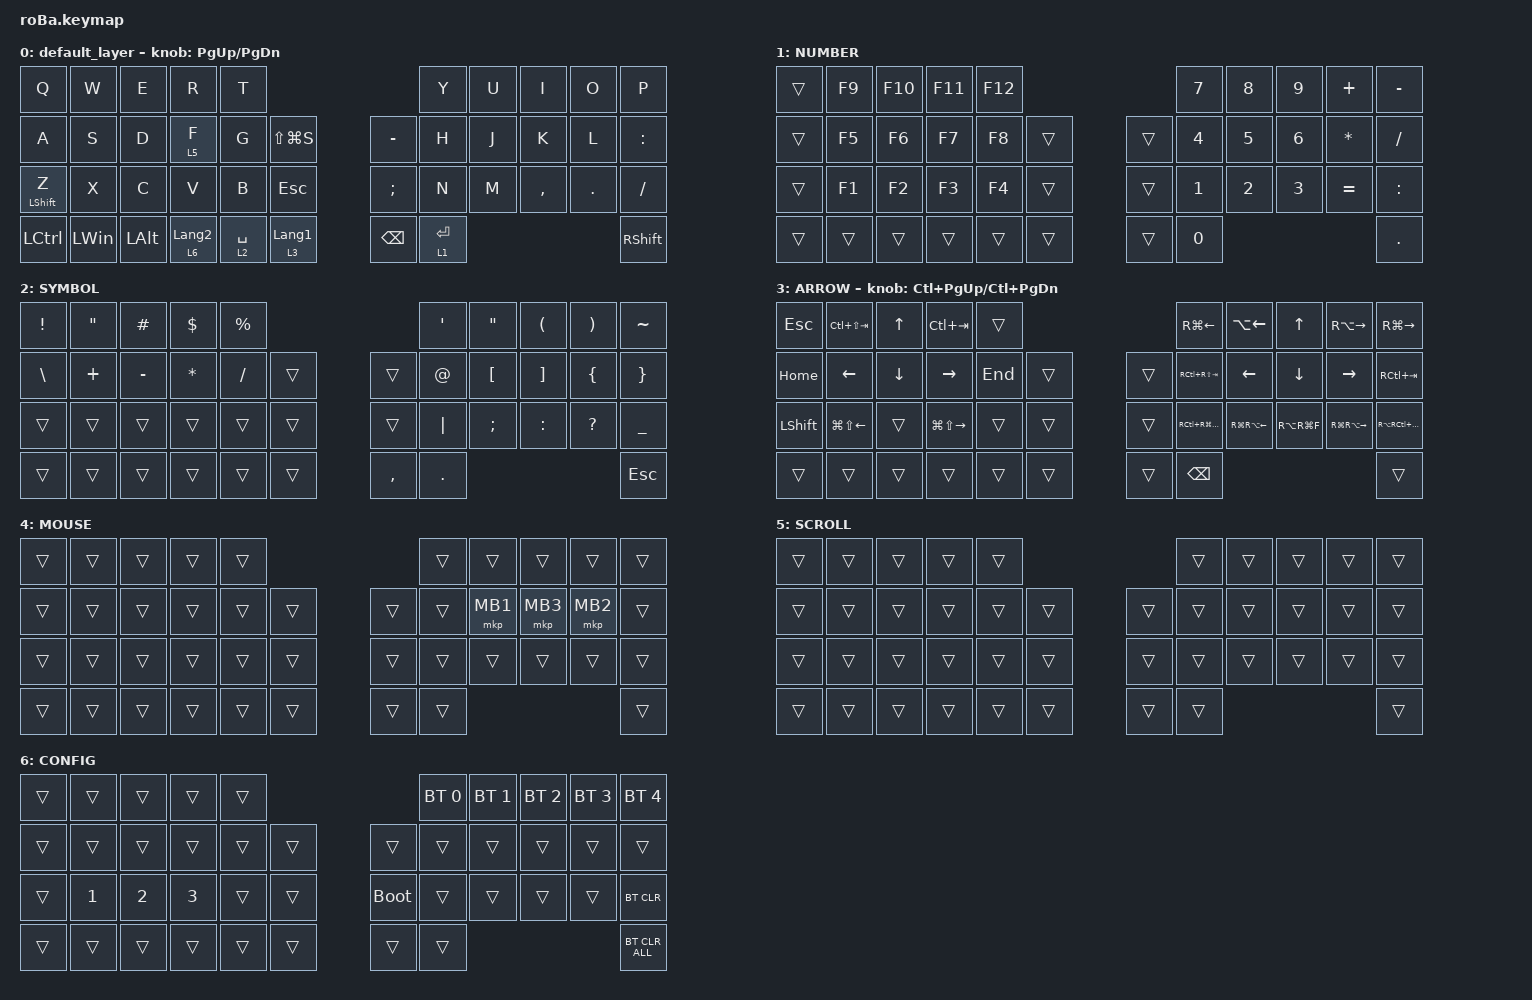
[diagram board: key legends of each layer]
#include <behaviors.dtsi>
#include <dt-bindings/zmk/bt.h>
#include <dt-bindings/zmk/keys.h>
#include <dt-bindings/zmk/pointing.h>

#define MOUSE 4
#define SCROLL 5
#define NUM 6

&mt {
    flavor = "balanced";
    quick-tap-ms = <0>;
};

/ {
    combos {
        compatible = "zmk,combos";

        tab {
            bindings = <&kp TAB>;
            key-positions = <11 12>;
        };

        shift_tab {
            bindings = <&kp LA(SPACE)>;
            key-positions = <12 13>;
        };

        muhennkann {
            bindings = <&to_layer_0 INT_MUHENKAN>;
            key-positions = <11 10>;
        };

        double_quotation {
            bindings = <&kp DOUBLE_QUOTES>;
            key-positions = <20 21>;
        };

        eq {
            bindings = <&kp EQUAL>;
            key-positions = <24 25>;
        };
    };

    macros {
        to_layer_0: to_layer_0 {
            compatible = "zmk,behavior-macro-one-param";
            #binding-cells = <1>;
            bindings = <&to 0 &macro_param_1to1 &kp MACRO_PLACEHOLDER>;
            label = "TO_LAYER_0";
        };
    };

    behaviors {
        lt_to_layer_0: lt_to_layer_0 {
            compatible = "zmk,behavior-hold-tap";
            label = "LAYER_TAP_TO_0";
            bindings = <&mo>, <&to_layer_0>;

            #binding-cells = <2>;
            tapping-term-ms = <200>;
        };
    };

    keymap {
        compatible = "zmk,keymap";

        default_layer {
            bindings = <
&kp Q             &kp W         &kp E         &kp R                        &kp T                                                        &kp Y        &kp U  &kp I      &kp O    &kp P
&kp A             &kp S         &kp D         &lt 5 F                      &kp G        &kp LS(LG(S))                    &kp MINUS      &kp H        &kp J  &kp K      &kp L    &kp COLON
&mt LEFT_SHIFT Z  &kp X         &kp C         &kp V                        &kp B        &kp ESC                          &kp SEMICOLON  &kp N        &kp M  &kp COMMA  &kp DOT  &kp SLASH
&kp LCTRL         &kp LEFT_WIN  &kp LEFT_ALT  &lt_to_layer_0 6 LANGUAGE_2  &lt 2 SPACE  &lt_to_layer_0 3 LANGUAGE_1      &kp BACKSPACE  &lt 1 ENTER                             &kp RSHIFT
            >;

            sensor-bindings = <&inc_dec_kp PG_UP PAGE_DOWN>;
        };

        NUMBER {
            bindings = <
&trans  &kp F9  &kp F10  &kp F11  &kp F12                      &kp NUMBER_7  &kp NUMBER_8  &kp NUMBER_9  &kp PLUS      &kp MINUS
&trans  &kp F5  &kp F6   &kp F7   &kp F8   &trans      &trans  &kp NUMBER_4  &kp NUMBER_5  &kp NUMBER_6  &kp ASTERISK  &kp SLASH
&trans  &kp F1  &kp F2   &kp F3   &kp F4   &trans      &trans  &kp NUMBER_1  &kp NUMBER_2  &kp NUMBER_3  &kp EQUAL     &kp COLON
&trans  &trans  &trans   &trans   &trans   &trans      &trans  &kp NUMBER_0                                            &kp PERIOD
            >;
        };

        SYMBOL {
            bindings = <
&kp EXCLAMATION  &kp DOUBLE_QUOTES  &kp HASH   &kp DOLLAR    &kp PERCENT                         &kp SINGLE_QUOTE  &kp DOUBLE_QUOTES  &kp LEFT_PARENTHESIS  &kp RIGHT_PARENTHESIS  &kp TILDE
&kp BACKSLASH    &kp PLUS           &kp MINUS  &kp ASTERISK  &kp SLASH    &trans      &trans     &kp AT_SIGN       &kp LEFT_BRACKET   &kp RIGHT_BRACKET     &kp LEFT_BRACE         &kp RIGHT_BRACE
&trans           &trans             &trans     &trans        &trans       &trans      &trans     &kp PIPE          &kp SEMICOLON      &kp COLON             &kp QUESTION           &kp UNDERSCORE
&trans           &trans             &trans     &trans        &trans       &trans      &kp COMMA  &kp PERIOD                                                                        &kp ESC
            >;
        };

        ARROW {
            bindings = <
&kp ESCAPE      &kp LC(LS(TAB))         &kp UP_ARROW    &kp LC(TAB)              &trans                       &kp RG(LEFT_ARROW)          &kp LA(LEFT_ARROW)      &kp UP_ARROW    &kp RA(RIGHT_ARROW)      &kp RG(RIGHT_ARROW)
&kp HOME        &kp LEFT_ARROW          &kp DOWN_ARROW  &kp RIGHT_ARROW          &kp END  &trans      &trans  &kp RC(RS(TAB))             &kp LEFT_ARROW          &kp DOWN_ARROW  &kp RIGHT_ARROW          &kp RC(TAB)
&kp LEFT_SHIFT  &kp LG(LS(LEFT_ARROW))  &trans          &kp LG(LS(RIGHT_ARROW))  &trans   &trans      &trans  &kp RC(RG(RA(LEFT_ARROW)))  &kp RG(RA(LEFT_ARROW))  &kp RA(RG(F))   &kp RG(RA(RIGHT_ARROW))  &kp RA(RC(RG(RIGHT_ARROW)))
&trans          &trans                  &trans          &trans                   &trans   &trans      &trans  &kp BACKSPACE                                                                                &trans
            >;

            sensor-bindings = <&inc_dec_kp LC(PAGE_UP) LC(PAGE_DOWN)>;
        };

        MOUSE {
            bindings = <
&trans  &trans  &trans  &trans  &trans                      &trans  &trans    &trans    &trans    &trans
&trans  &trans  &trans  &trans  &trans  &trans      &trans  &trans  &mkp MB1  &mkp MB3  &mkp MB2  &trans
&trans  &trans  &trans  &trans  &trans  &trans      &trans  &trans  &trans    &trans    &trans    &trans
&trans  &trans  &trans  &trans  &trans  &trans      &trans  &trans                                &trans
            >;
        };

        SCROLL {
            bindings = <
&trans  &trans  &trans  &trans  &trans                      &trans  &trans  &trans  &trans  &trans
&trans  &trans  &trans  &trans  &trans  &trans      &trans  &trans  &trans  &trans  &trans  &trans
&trans  &trans  &trans  &trans  &trans  &trans      &trans  &trans  &trans  &trans  &trans  &trans
&trans  &trans  &trans  &trans  &trans  &trans      &trans  &trans                          &trans
            >;
        };

        CONFIG {
            bindings = <
&trans  &trans        &trans        &trans        &trans                           &bt BT_SEL 0  &bt BT_SEL 1  &bt BT_SEL 2  &bt BT_SEL 3  &bt BT_SEL 4
&trans  &trans        &trans        &trans        &trans  &trans      &trans       &trans        &trans        &trans        &trans        &trans
&trans  &kp NUMBER_1  &kp NUMBER_2  &kp NUMBER_3  &trans  &trans      &bootloader  &trans        &trans        &trans        &trans        &bt BT_CLR
&trans  &trans        &trans        &trans        &trans  &trans      &trans       &trans                                                  &bt BT_CLR_ALL
            >;
        };
    };
};
